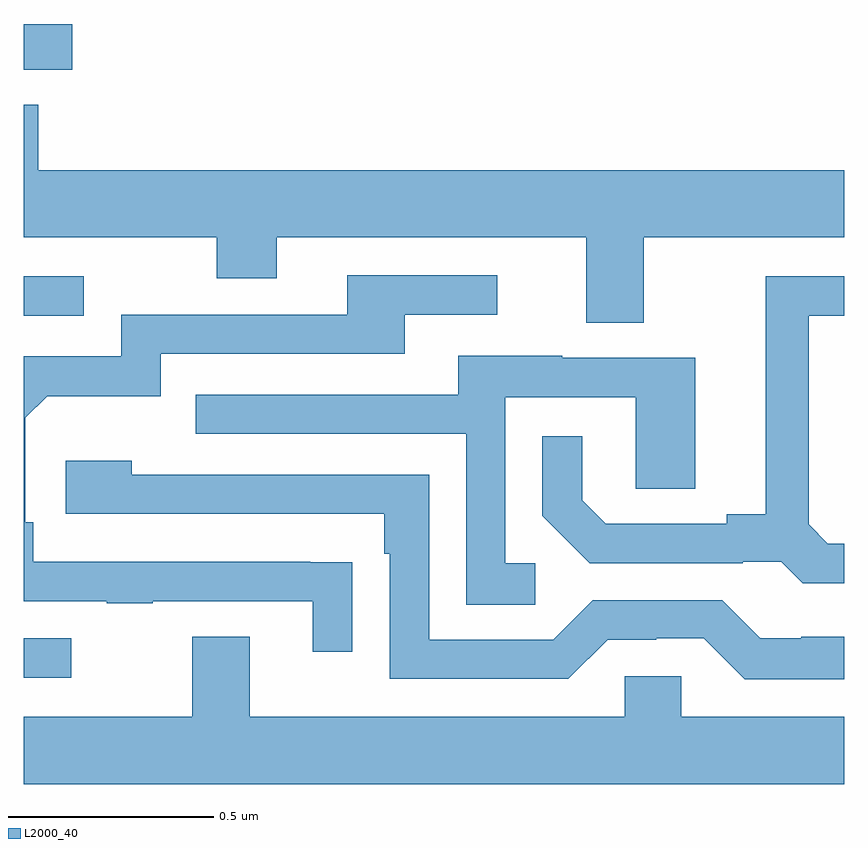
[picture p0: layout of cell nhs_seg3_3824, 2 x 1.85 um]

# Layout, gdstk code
import gdstk
lib = gdstk.Library(unit=1e-6, precision=1e-09)
def R(c, l, rs):  # rectangles x0, y0, x1, y1
    for r in rs: c.add(gdstk.rectangle(r[:2], r[2:], *l))
def P(c, l, *ps):  # polygons
    for p in ps: c.add(gdstk.Polygon(p, *l))
L2000_40 = (2000, 40)

nhs_seg3_3824 = lib.new_cell('nhs_seg3_3824')
R(nhs_seg3_3824, L2000_40, [(158,735.807,158.116,735.903), (158,736.689,158.146,736.785), (158,737.288,158.119,737.4)])
P(nhs_seg3_3824, L2000_40, [(159.511,736.88),(160,736.88),(160,737.044),(158.036,737.044),(158.036,737.203),(158,737.203),(158,736.88),(158.47,736.88),(158.47,736.781),(158.617,736.781),(158.617,736.88),(159.371,736.88),(159.371,736.672),(159.511,736.672)],
  [(158.801,736.088),(158.699,736.088),(158.699,736.089),(158.024,736.089),(158.024,736.186),(158.004,736.186),(158.004,736.44),(158.057,736.493),(158.334,736.493),(158.334,736.596),(158.929,736.596),(158.929,736.692),(159.154,736.692),(159.154,736.788),(158.789,736.788),(158.789,736.692),(158.238,736.692),(158.238,736.59),(158,736.59),(158,735.993),(158.203,735.993),(158.203,735.988),(158.315,735.988),(158.315,735.993),(158.705,735.993),(158.705,735.87),(158.801,735.87)],
  [(160,736.134),(159.96,736.134),(159.913,736.181),(159.913,736.689),(160,736.689),(160,736.785),(159.809,736.785),(159.809,736.205),(159.713,736.205),(159.713,736.182),(159.418,736.182),(159.361,736.239),(159.361,736.396),(159.264,736.396),(159.264,736.202),(159.38,736.086),(159.752,736.086),(159.752,736.089),(159.846,736.089),(159.898,736.037),(160,736.037)],
  [(159.247,736.086),(159.174,736.086),(159.174,736.491),(159.492,736.491),(159.492,736.267),(159.637,736.267),(159.637,736.587),(159.313,736.587),(159.313,736.591),(159.059,736.591),(159.059,736.497),(158.419,736.497),(158.419,736.401),(159.078,736.401),(159.078,735.985),(159.247,735.985)],
  [(160,735.907),(159.895,735.907),(159.895,735.903),(159.795,735.903),(159.702,735.996),(159.387,735.996),(159.291,735.9),(158.988,735.9),(158.988,736.302),(158.264,736.302),(158.264,736.336),(158.103,736.336),(158.103,736.206),(158.879,736.206),(158.879,736.109),(158.892,736.109),(158.892,735.804),(159.327,735.804),(159.423,735.9),(159.542,735.9),(159.542,735.903),(159.657,735.903),(159.757,735.803),(160,735.803)],
  [(160,735.712),(159.603,735.712),(159.603,735.81),(159.465,735.81),(159.465,735.712),(158.551,735.712),(158.551,735.907),(158.411,735.907),(158.411,735.712),(158,735.712),(158,735.548),(160,735.548)])

lib.write_gds('nhs_seg3_3824.gds')
